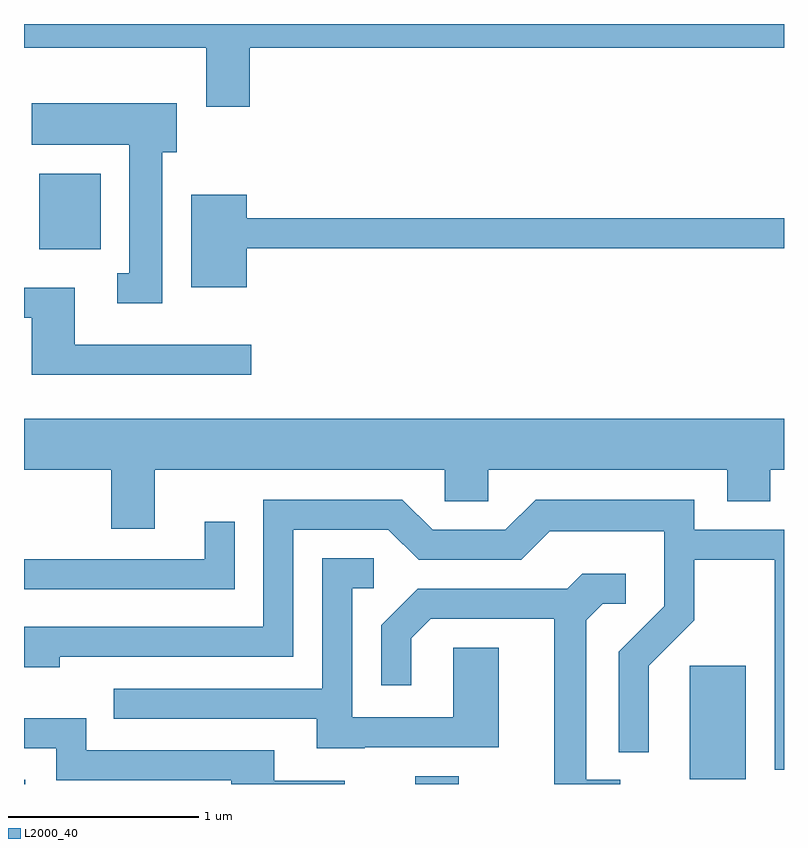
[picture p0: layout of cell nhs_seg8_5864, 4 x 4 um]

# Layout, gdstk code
import gdstk
lib = gdstk.Library(unit=1e-6, precision=1e-09)
def R(c, l, rs):  # rectangles x0, y0, x1, y1
    for r in rs: c.add(gdstk.rectangle(r[:2], r[2:], *l))
def P(c, l, *ps):  # polygons
    for p in ps: c.add(gdstk.Polygon(p, *l))
L2000_40 = (2000, 40)

nhs_seg8_5864 = lib.new_cell('nhs_seg8_5864')
R(nhs_seg8_5864, L2000_40, [(361.611,1810.342,361.618,1810.364), (363.671,1810.342,363.899,1810.384), (365.116,1810.366,365.409,1810.964), (361.691,1813.156,362.014,1813.554)])
P(nhs_seg8_5864, L2000_40, [(362.799,1814.216),(365.611,1814.216),(365.611,1814.342),(361.611,1814.342),(361.611,1814.216),(362.571,1814.216),(362.571,1813.906),(362.799,1813.906)],
  [(362.339,1813.666),(362.414,1813.666),(362.414,1813.924),(361.651,1813.924),(361.651,1813.706),(362.166,1813.706),(362.166,1813.029),(362.103,1813.029),(362.103,1812.871),(362.339,1812.871)],
  [(362.784,1813.161),(365.611,1813.161),(365.611,1813.319),(362.784,1813.319),(362.784,1813.444),(362.491,1813.444),(362.491,1812.956),(362.784,1812.956)],
  [(362.808,1812.654),(361.879,1812.654),(361.879,1812.954),(361.611,1812.954),(361.611,1812.796),(361.651,1812.796),(361.651,1812.496),(362.808,1812.496)],
  [(362.299,1811.996),(363.826,1811.996),(363.826,1811.831),(364.054,1811.831),(364.054,1811.996),(365.311,1811.996),(365.311,1811.831),(365.539,1811.831),(365.539,1811.996),(365.611,1811.996),(365.611,1812.264),(361.611,1812.264),(361.611,1811.996),(362.071,1811.996),(362.071,1811.686),(362.299,1811.686)],
  [(365.611,1811.679),(365.139,1811.679),(365.139,1811.839),(364.304,1811.839),(364.144,1811.679),(363.762,1811.679),(363.602,1811.839),(362.871,1811.839),(362.871,1811.169),(361.611,1811.169),(361.611,1810.956),(361.799,1810.956),(361.799,1811.011),(363.029,1811.011),(363.029,1811.681),(363.529,1811.681),(363.689,1811.521),(364.227,1811.521),(364.377,1811.671),(364.981,1811.671),(364.981,1811.277),(364.741,1811.037),(364.741,1810.508),(364.899,1810.508),(364.899,1810.964),(365.139,1811.204),(365.139,1811.521),(365.561,1811.521),(365.561,1810.416),(365.611,1810.416)],
  [(362.719,1811.723),(362.561,1811.723),(362.561,1811.524),(361.611,1811.524),(361.611,1811.366),(362.719,1811.366)],
  [(363.405,1810.536),(364.109,1810.536),(364.109,1811.059),(363.871,1811.059),(363.871,1810.694),(363.339,1810.694),(363.339,1811.371),(363.453,1811.371),(363.453,1811.529),(363.181,1811.529),(363.181,1810.844),(362.083,1810.844),(362.083,1810.686),(363.151,1810.686),(363.151,1810.531),(363.405,1810.531)],
  [(364.748,1810.364),(364.569,1810.364),(364.569,1811.204),(364.657,1811.291),(364.778,1811.291),(364.778,1811.449),(364.549,1811.449),(364.469,1811.369),(363.684,1811.369),(363.491,1811.177),(363.491,1810.863),(363.649,1810.863),(363.649,1811.109),(363.752,1811.211),(364.401,1811.211),(364.401,1810.342),(364.748,1810.342)],
  [(363.298,1810.359),(362.929,1810.359),(362.929,1810.519),(361.939,1810.519),(361.939,1810.689),(361.611,1810.689),(361.611,1810.531),(361.781,1810.531),(361.781,1810.361),(362.701,1810.361),(362.701,1810.342),(363.298,1810.342)])

lib.write_gds('nhs_seg8_5864.gds')
